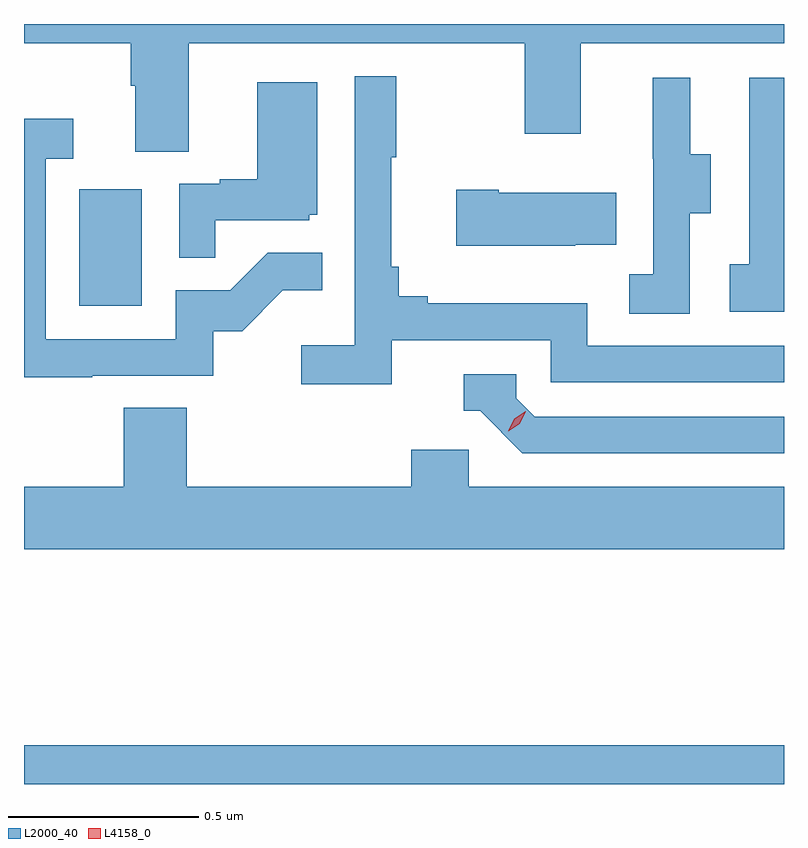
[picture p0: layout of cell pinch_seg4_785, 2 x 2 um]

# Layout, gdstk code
import gdstk
lib = gdstk.Library(unit=1e-6, precision=1e-09)
def R(c, l, rs):  # rectangles x0, y0, x1, y1
    for r in rs: c.add(gdstk.rectangle(r[:2], r[2:], *l))
def P(c, l, *ps):  # polygons
    for p in ps: c.add(gdstk.Polygon(p, *l))
L2000_40 = (2000, 40)
L4158_0 = (4158, 0)

pinch_seg4_785 = lib.new_cell('pinch_seg4_785')
R(pinch_seg4_785, L2000_40, [(817.854,822.842,819.854,822.944), (818,824.1,818.164,824.407)])
P(pinch_seg4_785, L2000_40, [(818.287,824.792),(819.172,824.792),(819.172,824.553),(819.319,824.553),(819.319,824.792),(819.854,824.792),(819.854,824.842),(817.854,824.842),(817.854,824.792),(818.135,824.792),(818.135,824.68),(818.147,824.68),(818.147,824.506),(818.287,824.506)],
  [(818.822,824.01),(819.24,824.01),(819.24,823.899),(819.854,823.899),(819.854,823.995),(819.336,823.995),(819.336,824.107),(818.917,824.107),(818.917,824.126),(818.84,824.126),(818.84,824.203),(818.821,824.203),(818.821,824.491),(818.833,824.491),(818.833,824.704),(818.724,824.704),(818.724,823.996),(818.583,823.996),(818.583,823.894),(818.822,823.894)],
  [(819.606,824.344),(819.661,824.344),(819.661,824.499),(819.607,824.499),(819.607,824.701),(819.509,824.701),(819.509,824.487),(819.51,824.487),(819.51,824.183),(819.447,824.183),(819.447,824.08),(819.606,824.08)],
  [(819.854,824.701),(819.762,824.701),(819.762,824.21),(819.711,824.21),(819.711,824.085),(819.854,824.085)],
  [(818.357,824.325),(818.604,824.325),(818.604,824.34),(818.626,824.34),(818.626,824.689),(818.468,824.689),(818.468,824.434),(818.369,824.434),(818.369,824.421),(818.262,824.421),(818.262,824.227),(818.357,824.227)],
  [(818.033,823.917),(818.352,823.917),(818.352,824.034),(818.428,824.034),(818.535,824.141),(818.639,824.141),(818.639,824.24),(818.495,824.24),(818.397,824.142),(818.253,824.142),(818.253,824.013),(817.911,824.013),(817.911,824.487),(817.984,824.487),(817.984,824.593),(817.854,824.593),(817.854,823.912),(818.033,823.912)],
  [(819.305,824.261),(819.413,824.261),(819.413,824.398),(819.103,824.398),(819.103,824.406),(818.991,824.406),(818.991,824.258),(819.305,824.258)],
  [(819.854,823.809),(819.198,823.809),(819.15,823.857),(819.15,823.92),(819.011,823.92),(819.011,823.824),(819.054,823.824),(819.165,823.713),(819.854,823.713)],
  [(819.854,823.624),(819.024,823.624),(819.024,823.722),(818.873,823.722),(818.873,823.624),(818.282,823.624),(818.282,823.832),(818.117,823.832),(818.117,823.624),(817.854,823.624),(817.854,823.46),(819.854,823.46)])
P(pinch_seg4_785, L4158_0, [(819.128,823.77),(819.128,823.77),(819.144,823.803),(819.174,823.823),(819.175,823.823),(819.175,823.822),(819.159,823.79),(819.128,823.77)])

lib.write_gds('pinch_seg4_785.gds')
